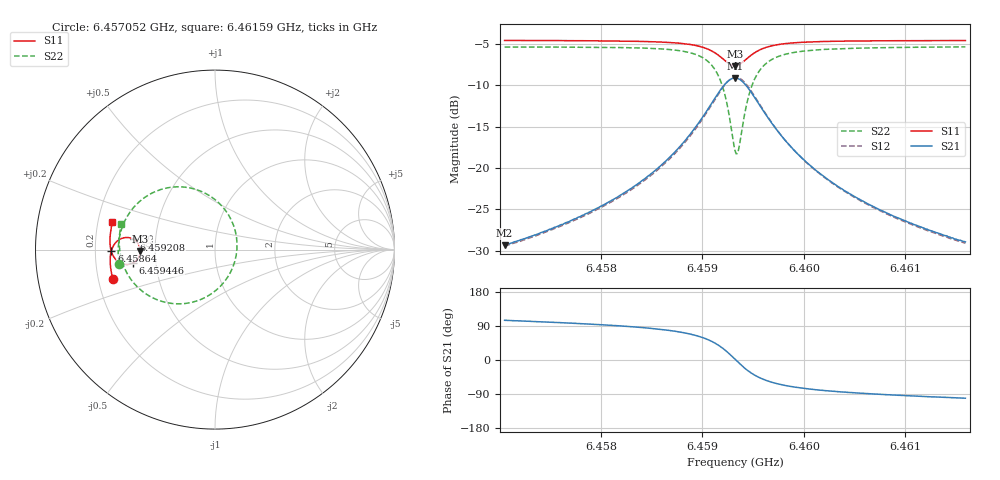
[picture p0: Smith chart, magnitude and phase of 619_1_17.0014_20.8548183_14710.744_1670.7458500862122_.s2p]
#  HZ  S  RI  R  50.00
! Rohde & Schwarz Vector Network Analyzer
! Rohde-Schwarz,ZNB20-2Port,1311601062101988,3.16
! Created: UTC 3/20/2024, 11:19:51 PM
! freq[Hz]  re:S11  im:S11  re:S21  im:S21  re:S12  im:S12  re:S22  im:S22
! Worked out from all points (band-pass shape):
!   401 points, 6.457052 GHz to 6.46159 GHz, reference 50 ohm
!   highest |S21| = -9.10 dB at 6.459321 GHz (marker M1); lowest = -29.4 dB at 6.457052 GHz (marker M2)
!   |S21| within 3 dB of the highest: 6.459095 GHz to 6.459548 GHz (453.6 kHz wide, 0.00702 % of centre)
!   lowest |S11| = -7.6 dB at 6.459321 GHz (marker M3), VSWR 2.42, Z = 20.6 - j0.388 ohm
!   |S11| at or under -10 dB: nowhere
!   |S22| runs from -18.3 to -5.3 dB; largest |S21 - S12| = 0.014
!   S11 on the Smith chart (normalised r, x): 6.457052 GHz: 0.26, -0.13; 6.45864 GHz: 0.27, -0.01; 6.459208 GHz: 0.38, +0.05; 6.459446 GHz: 0.37, -0.07; 6.46159 GHz: 0.26, +0.12
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6.4570522e9  -0.5683 -0.1664  -0.0087 0.0329  -0.00686 0.033  -0.5347 -0.0777
6.4578123e9  -0.5816 -0.0996  -0.00521 0.0513  -0.00265 0.0505  -0.5389 0.0122
6.4582548e9  -0.5839 -0.0548  0.00162 0.0723  0.005 0.0708  -0.5289 0.0842
6.4585724e9  -0.5798 -0.0161  0.0153 0.1002  0.0193 0.0973  -0.5033 0.1577
6.4586405e9  -0.5775 -0.0067  0.0207 0.1085  0.0249 0.1052  -0.4929 0.178
6.4588334e9  -0.5644 0.0238  0.0479 0.1398  0.052 0.1347  -0.442 0.2476
6.4589808e9  -0.5414 0.0498  0.0939 0.1703  0.0971 0.1635  -0.3567 0.3119
6.459117e9  -0.4969 0.0672  0.1825 0.1865  0.1834 0.1791  -0.1946 0.3498
6.4592077e9  -0.4518 0.0565  0.2735 0.1544  0.2736 0.1485  -0.0259 0.2973
6.4592758e9  -0.4226 0.0238  0.3346 0.0811  0.3367 0.0759  0.0907 0.1648
6.4593212e9  -0.4156 -0.00777  0.3507 0.0122  0.3545 0.00517  0.1227 0.0353
6.4593552e9  -0.4196 -0.0318  0.3446 -0.0411  0.3486 -0.0504  0.1103 -0.0659
6.4594006e9  -0.4354 -0.0583  0.3152 -0.1018  0.3175 -0.1139  0.0508 -0.1807
6.459446e9  -0.458 -0.0748  0.2723 -0.1433  0.2715 -0.1569  -0.0364 -0.2564
6.4595367e9  -0.5019 -0.0817  0.186 -0.1744  0.1795 -0.1861  -0.209 -0.3022
6.4596048e9  -0.5266 -0.0743  0.1368 -0.1721  0.1285 -0.1812  -0.3039 -0.2861
6.4596842e9  -0.5464 -0.061  0.0966 -0.1597  0.0879 -0.166  -0.3791 -0.2506
6.459843e9  -0.5681 -0.0332  0.0514 -0.1311  0.0435 -0.1338  -0.4602 -0.1769
6.4600813e9  -0.581 0.00239  0.0219 -0.0988  0.0161 -0.0994  -0.5083 -0.093
6.4604443e9  -0.5855 0.0456  0.00533 -0.0701  0.00132 -0.0697  -0.5302 -0.00882
6.4608414e9  -0.5835 0.0856  -0.00161 -0.0526  -0.00457 -0.0518  -0.5334 0.0553
6.4615902e9  -0.5713 0.1522  -0.00672 -0.0351  -0.00845 -0.034  -0.5218 0.1447
